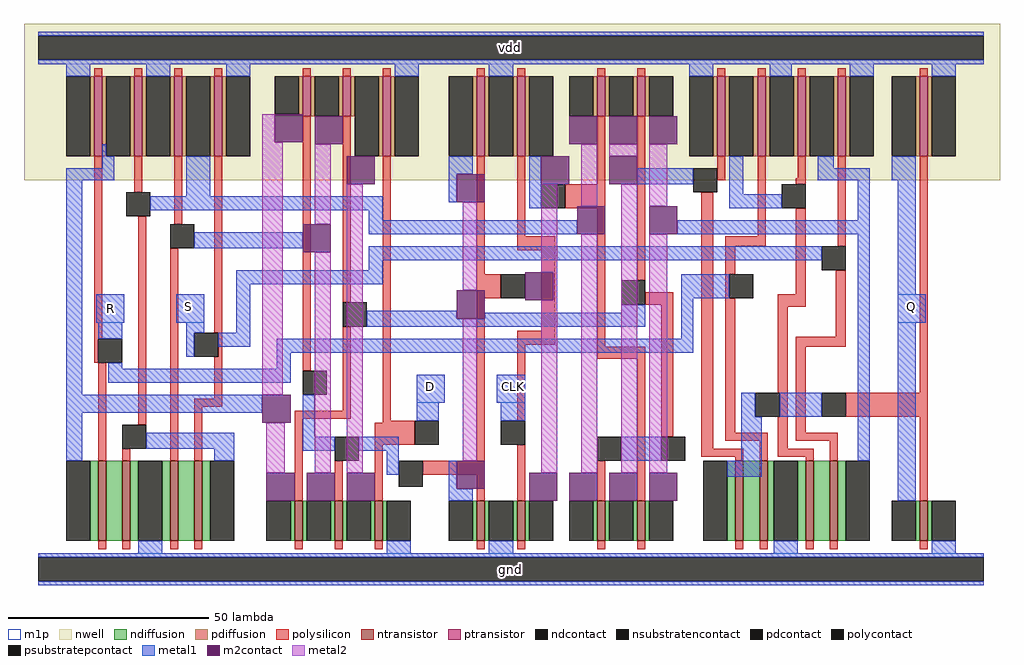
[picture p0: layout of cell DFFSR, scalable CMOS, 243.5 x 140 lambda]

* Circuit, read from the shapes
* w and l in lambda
.subckt DFFSR D S R CLK Q vdd gnd
M1 n1 R n2 gnd nfet w=20 l=2
M2 gnd n3 n1 gnd nfet w=20 l=2
M3 n4 n5 gnd gnd nfet w=20 l=2
M4 n3 S n4 gnd nfet w=20 l=2
M5 n5 n6 n2 gnd nfet w=10 l=2
M6 n7 n8 n5 gnd nfet w=10 l=2
M7 gnd D n7 gnd nfet w=10 l=2
M8 gnd n8 n6 gnd nfet w=10 l=2
M9 n8 CLK gnd gnd nfet w=10 l=2
M10 n9 n6 n3 gnd nfet w=10 l=2
M11 n10 n8 n9 gnd nfet w=10 l=2
M12 n11 n9 n12 gnd nfet w=20 l=2
M13 gnd R n11 gnd nfet w=20 l=2
M14 n13 n12 gnd gnd nfet w=20 l=2
M15 n10 S n13 gnd nfet w=20 l=2
M16 gnd n12 Q gnd nfet w=10 l=2
M17 n2 R vdd vdd pfet w=20 l=2
M18 vdd n3 n2 vdd pfet w=20 l=2
M19 n3 n5 vdd vdd pfet w=20 l=2
M20 vdd S n3 vdd pfet w=20 l=2
M21 n5 n8 n2 vdd pfet w=10 l=2
M22 n7 n6 n5 vdd pfet w=10 l=2
M23 vdd D n7 vdd pfet w=20 l=2
M24 vdd n8 n6 vdd pfet w=20 l=2
M25 n8 CLK vdd vdd pfet w=20 l=2
M26 n9 n8 n3 vdd pfet w=10 l=2
M27 n10 n6 n9 vdd pfet w=10 l=2
M28 n12 n9 vdd vdd pfet w=20 l=2
M29 vdd R n12 vdd pfet w=20 l=2
M30 n10 n12 vdd vdd pfet w=20 l=2
M31 vdd S n10 vdd pfet w=20 l=2
M32 vdd n12 Q vdd pfet w=20 l=2
.ends

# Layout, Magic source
magic
tech scmos
magscale 1 2
<< nwell >>
rect -13 194 474 272
<< ntransistor >>
rect 24 14 28 54
rect 36 14 40 54
rect 60 14 64 54
rect 72 14 76 54
rect 122 14 126 34
rect 142 14 146 34
rect 162 14 166 34
rect 213 14 217 34
rect 233 14 237 34
rect 273 14 277 34
rect 293 14 297 34
rect 342 14 346 54
rect 354 14 358 54
rect 377 14 381 54
rect 389 14 393 54
rect 434 14 438 34
<< ptransistor >>
rect 22 206 26 246
rect 42 206 46 246
rect 62 206 66 246
rect 82 206 86 246
rect 126 226 130 246
rect 146 226 150 246
rect 166 206 170 246
rect 213 206 217 246
rect 233 206 237 246
rect 273 226 277 246
rect 293 226 297 246
rect 333 206 337 246
rect 353 206 357 246
rect 373 206 377 246
rect 393 206 397 246
rect 434 206 438 246
<< ndiffusion >>
rect 20 14 24 54
rect 28 14 36 54
rect 40 14 44 54
rect 56 14 60 54
rect 64 14 72 54
rect 76 14 80 54
rect 120 14 122 34
rect 126 14 128 34
rect 140 14 142 34
rect 146 14 148 34
rect 160 14 162 34
rect 166 14 168 34
rect 211 14 213 34
rect 217 14 219 34
rect 231 14 233 34
rect 237 14 239 34
rect 271 14 273 34
rect 277 14 279 34
rect 291 14 293 34
rect 297 14 299 34
rect 338 14 342 54
rect 346 14 354 54
rect 358 14 361 54
rect 373 14 377 54
rect 381 14 389 54
rect 393 14 397 54
rect 432 14 434 34
rect 438 14 440 34
<< pdiffusion >>
rect 20 206 22 246
rect 26 206 28 246
rect 40 206 42 246
rect 46 206 48 246
rect 60 206 62 246
rect 66 206 68 246
rect 80 206 82 246
rect 86 206 88 246
rect 124 227 126 246
rect 112 226 126 227
rect 130 226 132 246
rect 144 226 146 246
rect 150 226 152 246
rect 164 206 166 246
rect 170 206 172 246
rect 211 206 213 246
rect 217 206 219 246
rect 231 206 233 246
rect 237 206 239 246
rect 271 226 273 246
rect 277 226 279 246
rect 291 226 293 246
rect 297 226 299 246
rect 331 206 333 246
rect 337 206 339 246
rect 351 206 353 246
rect 357 206 359 246
rect 371 206 373 246
rect 377 206 379 246
rect 391 206 393 246
rect 397 206 399 246
rect 432 206 434 246
rect 438 206 440 246
<< ndcontact >>
rect 8 14 20 54
rect 44 14 56 54
rect 80 14 92 54
rect 108 14 120 34
rect 128 14 140 34
rect 148 14 160 34
rect 168 14 180 34
rect 199 14 211 34
rect 219 14 231 34
rect 239 14 251 34
rect 259 14 271 34
rect 279 14 291 34
rect 299 14 311 34
rect 326 14 338 54
rect 361 14 373 54
rect 397 14 409 54
rect 420 14 432 34
rect 440 14 452 34
<< pdcontact >>
rect 8 206 20 246
rect 28 206 40 246
rect 48 206 60 246
rect 68 206 80 246
rect 88 206 100 246
rect 112 227 124 246
rect 132 226 144 246
rect 152 206 164 246
rect 172 206 184 246
rect 199 206 211 246
rect 219 206 231 246
rect 239 206 251 246
rect 259 226 271 246
rect 279 226 291 246
rect 299 226 311 246
rect 319 206 331 246
rect 339 206 351 246
rect 359 206 371 246
rect 379 206 391 246
rect 399 206 411 246
rect 420 206 432 246
rect 440 206 452 246
<< psubstratepcontact >>
rect -6 -6 466 6
<< nsubstratencontact >>
rect -6 254 466 266
<< polysilicon >>
rect 22 246 26 250
rect 42 246 46 250
rect 62 246 66 250
rect 82 246 86 250
rect 126 246 130 250
rect 146 246 150 250
rect 166 246 170 250
rect 213 246 217 250
rect 233 246 237 250
rect 273 246 277 250
rect 293 246 297 250
rect 333 246 337 250
rect 353 246 357 250
rect 373 246 377 250
rect 393 246 397 250
rect 434 246 438 250
rect 22 115 26 206
rect 42 188 46 206
rect 22 103 24 115
rect 24 54 28 103
rect 44 72 48 176
rect 62 172 66 206
rect 36 54 40 60
rect 60 54 64 160
rect 82 118 86 206
rect 84 106 86 118
rect 82 85 86 106
rect 126 99 130 226
rect 146 133 150 226
rect 72 81 86 85
rect 72 54 76 81
rect 146 79 150 121
rect 122 75 150 79
rect 122 34 126 75
rect 166 74 170 206
rect 213 147 217 206
rect 233 166 237 206
rect 273 192 277 226
rect 257 180 277 192
rect 233 159 252 166
rect 213 135 225 147
rect 166 73 182 74
rect 162 62 182 73
rect 142 34 146 54
rect 162 34 166 62
rect 213 54 217 135
rect 245 119 252 159
rect 233 112 252 119
rect 233 74 237 112
rect 273 111 277 180
rect 293 144 297 226
rect 333 194 337 206
rect 297 132 311 138
rect 273 105 297 111
rect 186 47 217 54
rect 213 34 217 47
rect 233 34 237 62
rect 273 34 277 54
rect 293 34 297 105
rect 305 66 311 132
rect 325 60 331 188
rect 353 166 357 206
rect 373 195 377 206
rect 372 192 377 195
rect 337 161 357 166
rect 337 147 342 161
rect 337 135 339 147
rect 372 137 377 180
rect 393 161 397 206
rect 337 68 342 135
rect 363 131 377 137
rect 363 88 368 131
rect 392 116 397 149
rect 364 76 368 88
rect 337 64 358 68
rect 325 56 346 60
rect 342 54 346 56
rect 354 54 358 64
rect 363 60 368 76
rect 372 111 397 116
rect 372 68 377 111
rect 434 88 438 206
rect 397 76 438 88
rect 372 64 393 68
rect 363 56 381 60
rect 377 54 381 56
rect 389 54 393 64
rect 434 34 438 76
rect 24 10 28 14
rect 36 10 40 14
rect 60 10 64 14
rect 72 10 76 14
rect 122 10 126 14
rect 142 10 146 14
rect 162 10 166 14
rect 213 10 217 14
rect 233 10 237 14
rect 273 10 277 14
rect 293 10 297 14
rect 342 10 346 14
rect 354 10 358 14
rect 377 10 381 14
rect 389 10 393 14
rect 434 10 438 14
<< polycontact >>
rect 38 176 50 188
rect 24 103 36 115
rect 36 60 48 72
rect 60 160 72 172
rect 72 106 84 118
rect 146 121 158 133
rect 126 87 138 99
rect 245 180 257 192
rect 225 135 237 147
rect 142 54 154 66
rect 182 62 194 74
rect 321 188 333 200
rect 285 132 297 144
rect 225 62 237 74
rect 174 41 186 54
rect 273 54 285 66
rect 305 54 317 66
rect 365 180 377 192
rect 339 135 351 147
rect 385 149 397 161
rect 352 76 364 88
rect 385 76 397 88
<< metal1 >>
rect -6 266 466 268
rect -6 252 466 254
rect 8 246 20 252
rect 48 246 60 252
rect 88 246 100 252
rect 172 246 184 252
rect 219 246 231 252
rect 319 246 331 252
rect 359 246 370 252
rect 399 246 411 252
rect 440 246 452 252
rect 26 206 28 212
rect 26 200 32 206
rect 8 194 32 200
rect 8 87 16 194
rect 68 186 80 206
rect 199 197 211 206
rect 50 179 166 186
rect 199 183 203 197
rect 239 180 245 206
rect 293 192 321 200
rect 339 187 346 206
rect 383 200 391 206
rect 383 194 409 200
rect 420 194 432 206
rect 159 174 166 179
rect 72 160 126 168
rect 159 167 263 174
rect 339 180 365 187
rect 403 174 409 194
rect 313 167 409 174
rect 159 154 385 161
rect 159 149 166 154
rect 93 142 166 149
rect 23 123 37 137
rect 63 123 77 137
rect 24 115 36 123
rect 68 118 77 123
rect 93 118 100 142
rect 158 125 203 129
rect 285 128 297 132
rect 217 125 297 128
rect 158 121 297 125
rect 315 135 339 147
rect 68 106 72 118
rect 84 111 100 118
rect 315 115 321 135
rect 113 108 321 115
rect 29 100 36 103
rect 113 100 120 108
rect 29 93 120 100
rect 8 78 106 87
rect 8 54 16 78
rect 48 60 92 68
rect 82 54 92 60
rect 126 66 132 87
rect 183 83 197 97
rect 223 83 237 97
rect 183 74 194 83
rect 126 59 142 66
rect 154 59 174 66
rect 225 74 237 83
rect 345 76 352 88
rect 364 76 385 88
rect 168 47 174 59
rect 285 54 305 66
rect 345 54 355 76
rect 403 54 409 167
rect 199 40 203 54
rect 199 34 211 40
rect 338 46 355 54
rect 423 137 432 194
rect 423 123 437 137
rect 423 34 432 123
rect 44 8 56 14
rect 168 8 180 14
rect 219 8 231 14
rect 361 8 373 14
rect 440 8 452 14
rect -6 6 466 8
rect -6 -8 466 -6
<< m2contact >>
rect 112 213 126 227
rect 132 212 146 226
rect 259 212 273 226
rect 279 212 293 226
rect 299 212 313 226
rect 148 192 162 206
rect 203 183 217 197
rect 245 192 259 206
rect 279 192 293 206
rect 126 158 140 172
rect 263 167 277 181
rect 299 167 313 181
rect 203 125 217 139
rect 237 134 251 148
rect 106 73 120 87
rect 108 34 122 48
rect 128 34 142 48
rect 148 34 162 48
rect 203 40 217 54
rect 239 34 253 48
rect 259 34 273 48
rect 279 34 293 48
rect 299 34 313 48
<< metal2 >>
rect 106 213 112 227
rect 106 87 116 213
rect 132 172 140 212
rect 108 48 117 73
rect 132 48 140 158
rect 148 48 156 192
rect 206 139 213 183
rect 245 148 253 192
rect 265 181 273 212
rect 279 206 293 212
rect 251 134 253 148
rect 206 54 213 125
rect 245 48 253 134
rect 265 48 273 167
rect 285 48 293 192
rect 299 181 308 212
rect 299 48 308 167
<< m1p >>
rect -6 252 466 268
rect 23 123 37 137
rect 63 123 77 137
rect 423 123 437 137
rect 183 83 197 97
rect 223 83 237 97
rect -6 -8 466 8
<< labels >>
rlabel nsubstratencontact 230 260 230 260 0 vdd
port 6 nsew power bidirectional abutment
rlabel psubstratepcontact 230 0 230 0 0 gnd
port 7 nsew ground bidirectional abutment
rlabel metal1 430 131 430 131 0 Q
port 5 nsew signal output
rlabel metal1 30 130 30 130 0 R
port 3 nsew signal input
rlabel metal1 69 131 69 131 0 S
port 2 nsew signal input
rlabel metal1 231 91 231 91 0 CLK
port 4 nsew clock input
rlabel metal1 190 91 190 91 0 D
port 1 nsew signal input
<< properties >>
string FIXED_BBOX 0 0 460 260
string LEFclass CORE
string LEFsite core
string LEFsymmetry X Y
<< end >>
